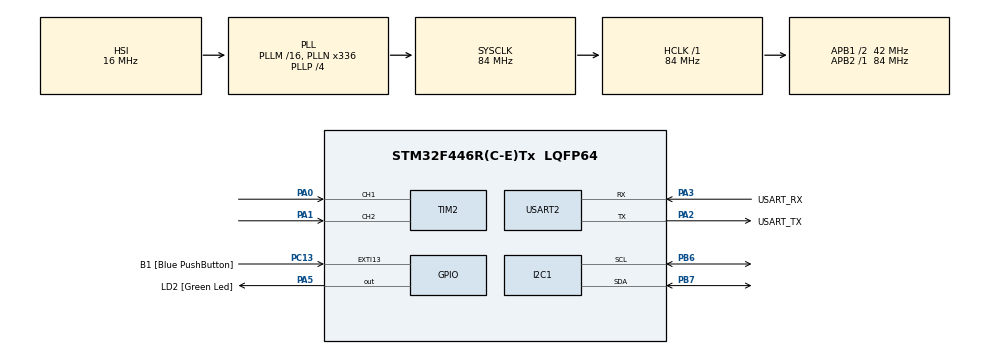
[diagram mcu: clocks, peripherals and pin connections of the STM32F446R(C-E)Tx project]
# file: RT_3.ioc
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FREERTOS.Tasks01=defaultTask,24,128,StartDefaultTask,Default,NULL,Dynamic,NULL,NULL;LCDDisplay_Task,8,128,StartLCDDisplay_Task,Default,NULL,Dynamic,NULL,NULL;EncoderRead_Tas,40,128,StartEncoderRead_Task,Default,NULL,Dynamic,NULL,NULL
FREERTOS.configENABLE_FPU=1
FREERTOS.configUSE_NEWLIB_REENTRANT=1
Mcu.Family=STM32F4
Mcu.Name=STM32F446R(C-E)Tx
Mcu.Package=LQFP64
NVIC.EXTI15_10_IRQn=true\:5\:0\:false\:false\:true\:true\:true\:true\:true
NVIC.PriorityGroup=NVIC_PRIORITYGROUP_4
NVIC.TIM7_IRQn=true\:15\:0\:false\:false\:true\:false\:false\:true\:true
NVIC.TimeBase=TIM7_IRQn
NVIC.TimeBaseIP=TIM7
PA0-WKUP.GPIO_PuPd=GPIO_PULLUP
PA0-WKUP.Signal=S_TIM2_CH1_ETR
PA1.GPIO_PuPd=GPIO_PULLUP
PA1.Signal=S_TIM2_CH2
PA13.GPIO_Label=TMS
PA13.Mode=Serial_Wire
PA13.Signal=SYS_JTMS-SWDIO
PA14.GPIO_Label=TCK
PA14.Mode=Serial_Wire
PA14.Signal=SYS_JTCK-SWCLK
PA2.GPIO_Label=USART_TX
PA2.Mode=Asynchronous
PA2.Signal=USART2_TX
PA3.GPIO_Label=USART_RX
PA3.Mode=Asynchronous
PA3.Signal=USART2_RX
PA5.GPIO_Label=LD2 [Green Led]
PA5.Signal=GPIO_Output
PB3.GPIO_Label=SWO
PB3.Signal=SYS_JTDO-SWO
PB6.GPIO_Pu=GPIO_PULLUP
PB6.Mode=I2C
PB6.Signal=I2C1_SCL
PB7.GPIO_Pu=GPIO_PULLUP
PB7.Mode=I2C
PB7.Signal=I2C1_SDA
PC13.GPIO_Label=B1 [Blue PushButton]
PC13.GPIO_ModeDefaultEXTI=GPIO_MODE_IT_RISING
PC13.Signal=GPXTI13
PC14-OSC32_IN.Mode=LSE-External-Oscillator
PC14-OSC32_IN.Signal=RCC_OSC32_IN
PC15-OSC32_OUT.Mode=LSE-External-Oscillator
PC15-OSC32_OUT.Signal=RCC_OSC32_OUT
PH0-OSC_IN.Mode=HSE-External-Oscillator
PH0-OSC_IN.Signal=RCC_OSC_IN
PH1-OSC_OUT.Mode=HSE-External-Oscillator
PH1-OSC_OUT.Signal=RCC_OSC_OUT
ProjectManager.HeapSize=0x200
ProjectManager.StackSize=0x400
ProjectManager.TargetToolchain=STM32CubeIDE
RCC.48MHZClocksFreq_Value=84000000
RCC.AHBFreq_Value=84000000
RCC.APB1CLKDivider=RCC_HCLK_DIV2
RCC.APB1Freq_Value=42000000
RCC.APB1TimFreq_Value=84000000
RCC.APB2Freq_Value=84000000
RCC.APB2TimFreq_Value=84000000
RCC.CortexFreq_Value=84000000
RCC.FLatency-AdvancedSettings=FLASH_LATENCY_2
RCC.HCLKFreq_Value=84000000
RCC.HSE_VALUE=8000000
RCC.HSI_VALUE=16000000
RCC.PLLN=336
RCC.PLLP=RCC_PLLP_DIV4
RCC.SYSCLKFreq_VALUE=84000000
RCC.SYSCLKSource=RCC_SYSCLKSOURCE_PLLCLK
RCC.USBFreq_Value=168000000
RCC.VCOOutputFreq_Value=336000000
SH.S_TIM2_CH1_ETR.0=TIM2_CH1,Encoder_Interface
SH.S_TIM2_CH2.0=TIM2_CH2,Encoder_Interface
TIM2.EncoderMode=TIM_ENCODERMODE_TI12
USART2.VirtualMode=VM_ASYNC
VP_FREERTOS_VS_CMSIS_V2.Mode=CMSIS_V2
VP_SYS_VS_tim7.Mode=TIM7
board=NUCLEO-F446RE

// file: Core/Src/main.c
/* USER CODE BEGIN Header */
/**
  ******************************************************************************
  * @file           : main.c
  * @brief          : Main program body
  ******************************************************************************
  * @attention
  *
  * Copyright (c) 2025 STMicroelectronics.
  * All rights reserved.
  *
  * This software is licensed under terms that can be found in the LICENSE file
  * in the root directory of this software component.
  * If no LICENSE file comes with this software, it is provided AS-IS.
  *
  ******************************************************************************
  */
/* USER CODE END Header */
#include "main.h"
#include "cmsis_os.h"

I2C_HandleTypeDef hi2c1;

TIM_HandleTypeDef htim2;

UART_HandleTypeDef huart2;

/* Definitions for defaultTask */
osThreadId_t defaultTaskHandle;
const osThreadAttr_t defaultTask_attributes = {
  .name = "defaultTask",
  .stack_size = 128 * 4,
  .priority = (osPriority_t) osPriorityNormal,
};
/* Definitions for LCDDisplay_Task */
osThreadId_t LCDDisplay_TaskHandle;
const osThreadAttr_t LCDDisplay_Task_attributes = {
  .name = "LCDDisplay_Task",
  .stack_size = 128 * 4,
  .priority = (osPriority_t) osPriorityLow,
};
/* Definitions for EncoderRead_Tas */
osThreadId_t EncoderRead_TasHandle;
const osThreadAttr_t EncoderRead_Tas_attributes = {
  .name = "EncoderRead_Tas",
  .stack_size = 128 * 4,
  .priority = (osPriority_t) osPriorityHigh,
};

void SystemClock_Config(void);
static void MX_GPIO_Init(void);
static void MX_USART2_UART_Init(void);
static void MX_I2C1_Init(void);
static void MX_TIM2_Init(void);
void StartDefaultTask(void *argument);
void StartLCDDisplay_Task(void *argument);
void StartEncoderRead_Task(void *argument);

int main(void)
{

  /* MCU Configuration--------------------------------------------------------*/

  /* Reset of all peripherals, Initializes the Flash interface and the Systick. */
  HAL_Init();

  /* Configure the system clock */
  SystemClock_Config();

  /* Initialize all configured peripherals */
  MX_GPIO_Init();
  MX_USART2_UART_Init();
  MX_I2C1_Init();
  MX_TIM2_Init();

  /* Init scheduler */
  osKernelInitialize();

  /* Create the thread(s) */
  /* creation of defaultTask */
  defaultTaskHandle = osThreadNew(StartDefaultTask, NULL, &defaultTask_attributes);

  /* creation of LCDDisplay_Task */
  LCDDisplay_TaskHandle = osThreadNew(StartLCDDisplay_Task, NULL, &LCDDisplay_Task_attributes);

  /* creation of EncoderRead_Tas */
  EncoderRead_TasHandle = osThreadNew(StartEncoderRead_Task, NULL, &EncoderRead_Tas_attributes);

  /* Start scheduler */
  osKernelStart();

  /* We should never get here as control is now taken by the scheduler */

  /* Infinite loop */
  while (1)
  {

  }
}

void SystemClock_Config(void)
{
  RCC_OscInitTypeDef RCC_OscInitStruct = {0};
  RCC_ClkInitTypeDef RCC_ClkInitStruct = {0};

  /** Configure the main internal regulator output voltage
  */
  __HAL_RCC_PWR_CLK_ENABLE();
  __HAL_PWR_VOLTAGESCALING_CONFIG(PWR_REGULATOR_VOLTAGE_SCALE3);

  /** Initializes the RCC Oscillators according to the specified parameters
  * in the RCC_OscInitTypeDef structure.
  */
  RCC_OscInitStruct.OscillatorType = RCC_OSCILLATORTYPE_HSI;
  RCC_OscInitStruct.HSIState = RCC_HSI_ON;
  RCC_OscInitStruct.HSICalibrationValue = RCC_HSICALIBRATION_DEFAULT;
  RCC_OscInitStruct.PLL.PLLState = RCC_PLL_ON;
  RCC_OscInitStruct.PLL.PLLSource = RCC_PLLSOURCE_HSI;
  RCC_OscInitStruct.PLL.PLLM = 16;
  RCC_OscInitStruct.PLL.PLLN = 336;
  RCC_OscInitStruct.PLL.PLLP = RCC_PLLP_DIV4;
  RCC_OscInitStruct.PLL.PLLQ = 2;
  RCC_OscInitStruct.PLL.PLLR = 2;
  if (HAL_RCC_OscConfig(&RCC_OscInitStruct) != HAL_OK)
  {
    Error_Handler();
  }

  /** Initializes the CPU, AHB and APB buses clocks
  */
  RCC_ClkInitStruct.ClockType = RCC_CLOCKTYPE_HCLK|RCC_CLOCKTYPE_SYSCLK
                              |RCC_CLOCKTYPE_PCLK1|RCC_CLOCKTYPE_PCLK2;
  RCC_ClkInitStruct.SYSCLKSource = RCC_SYSCLKSOURCE_PLLCLK;
  RCC_ClkInitStruct.AHBCLKDivider = RCC_SYSCLK_DIV1;
  RCC_ClkInitStruct.APB1CLKDivider = RCC_HCLK_DIV2;
  RCC_ClkInitStruct.APB2CLKDivider = RCC_HCLK_DIV1;

  if (HAL_RCC_ClockConfig(&RCC_ClkInitStruct, FLASH_LATENCY_2) != HAL_OK)
  {
    Error_Handler();
  }
}

static void MX_I2C1_Init(void)
{

  hi2c1.Instance = I2C1;
  hi2c1.Init.ClockSpeed = 100000;
  hi2c1.Init.DutyCycle = I2C_DUTYCYCLE_2;
  hi2c1.Init.OwnAddress1 = 0;
  hi2c1.Init.AddressingMode = I2C_ADDRESSINGMODE_7BIT;
  hi2c1.Init.DualAddressMode = I2C_DUALADDRESS_DISABLE;
  hi2c1.Init.OwnAddress2 = 0;
  hi2c1.Init.GeneralCallMode = I2C_GENERALCALL_DISABLE;
  hi2c1.Init.NoStretchMode = I2C_NOSTRETCH_DISABLE;
  if (HAL_I2C_Init(&hi2c1) != HAL_OK)
  {
    Error_Handler();
  }

}

static void MX_TIM2_Init(void)
{

  TIM_Encoder_InitTypeDef sConfig = {0};
  TIM_MasterConfigTypeDef sMasterConfig = {0};

  htim2.Instance = TIM2;
  htim2.Init.Prescaler = 0;
  htim2.Init.CounterMode = TIM_COUNTERMODE_UP;
  htim2.Init.Period = 4294967295;
  htim2.Init.ClockDivision = TIM_CLOCKDIVISION_DIV1;
  htim2.Init.AutoReloadPreload = TIM_AUTORELOAD_PRELOAD_DISABLE;
  sConfig.EncoderMode = TIM_ENCODERMODE_TI12;
  sConfig.IC1Polarity = TIM_ICPOLARITY_RISING;
  sConfig.IC1Selection = TIM_ICSELECTION_DIRECTTI;
  sConfig.IC1Prescaler = TIM_ICPSC_DIV1;
  sConfig.IC1Filter = 0;
  sConfig.IC2Polarity = TIM_ICPOLARITY_RISING;
  sConfig.IC2Selection = TIM_ICSELECTION_DIRECTTI;
  sConfig.IC2Prescaler = TIM_ICPSC_DIV1;
  sConfig.IC2Filter = 0;
  if (HAL_TIM_Encoder_Init(&htim2, &sConfig) != HAL_OK)
  {
    Error_Handler();
  }
  sMasterConfig.MasterOutputTrigger = TIM_TRGO_RESET;
  sMasterConfig.MasterSlaveMode = TIM_MASTERSLAVEMODE_DISABLE;
  if (HAL_TIMEx_MasterConfigSynchronization(&htim2, &sMasterConfig) != HAL_OK)
  {
    Error_Handler();
  }

}

static void MX_USART2_UART_Init(void)
{

  huart2.Instance = USART2;
  huart2.Init.BaudRate = 115200;
  huart2.Init.WordLength = UART_WORDLENGTH_8B;
  huart2.Init.StopBits = UART_STOPBITS_1;
  huart2.Init.Parity = UART_PARITY_NONE;
  huart2.Init.Mode = UART_MODE_TX_RX;
  huart2.Init.HwFlowCtl = UART_HWCONTROL_NONE;
  huart2.Init.OverSampling = UART_OVERSAMPLING_16;
  if (HAL_UART_Init(&huart2) != HAL_OK)
  {
    Error_Handler();
  }

}

static void MX_GPIO_Init(void)
{
  GPIO_InitTypeDef GPIO_InitStruct = {0};

  /* GPIO Ports Clock Enable */
  __HAL_RCC_GPIOC_CLK_ENABLE();
  __HAL_RCC_GPIOH_CLK_ENABLE();
  __HAL_RCC_GPIOA_CLK_ENABLE();
  __HAL_RCC_GPIOB_CLK_ENABLE();

  /*Configure GPIO pin Output Level */
  HAL_GPIO_WritePin(LD2_GPIO_Port, LD2_Pin, GPIO_PIN_RESET);

  /*Configure GPIO pin : B1_Pin */
  GPIO_InitStruct.Pin = B1_Pin;
  GPIO_InitStruct.Mode = GPIO_MODE_IT_RISING;
  GPIO_InitStruct.Pull = GPIO_NOPULL;
  HAL_GPIO_Init(B1_GPIO_Port, &GPIO_InitStruct);

  /*Configure GPIO pin : LD2_Pin */
  GPIO_InitStruct.Pin = LD2_Pin;
  GPIO_InitStruct.Mode = GPIO_MODE_OUTPUT_PP;
  GPIO_InitStruct.Pull = GPIO_NOPULL;
  GPIO_InitStruct.Speed = GPIO_SPEED_FREQ_LOW;
  HAL_GPIO_Init(LD2_GPIO_Port, &GPIO_InitStruct);

  /* EXTI interrupt init*/
  HAL_NVIC_SetPriority(EXTI15_10_IRQn, 5, 0);
  HAL_NVIC_EnableIRQ(EXTI15_10_IRQn);

}

/* USER CODE BEGIN 4 */
void HAL_GPIO_EXTI_Callback ( uint16_t GPIO_Pin ){
	if(GPIO_Pin == B1_Pin){
		//osSemaphoreRelease(semButtonEchoHandle);
		HAL_GPIO_TogglePin ( LD2_GPIO_Port , LD2_Pin );
		__HAL_TIM_SET_COUNTER(&htim2, 0);
	}
}

/* USER CODE END 4 */

void StartDefaultTask(void *argument)
{
  /* USER CODE BEGIN 5 */
  /* Infinite loop */
  for(;;)
  {
	  osDelay(5);
  }
  /* USER CODE END 5 */
}

void StartLCDDisplay_Task(void *argument)
{
  /* USER CODE BEGIN StartLCDDisplay_Task */

	lcd_init(hi2c1);
	lcd_put_cursor(0,0);
	lcd_clear();
  /* Infinite loop */
  for(;;)
  {
	  lcd_write("1");
	  osDelay(1000);
  }
  /* USER CODE END StartLCDDisplay_Task */
}

void StartEncoderRead_Task(void *argument)
{
  /* USER CODE BEGIN StartEncoderRead_Task */
	lcd_init(hi2c1);
	lcd_put_cursor(0,0);
	lcd_clear();

	HAL_TIM_Encoder_Start(&htim2, 1);
	int cpt_val;
	char buf[16];

	/* Infinite loop */
	for(;;){
		cpt_val = __HAL_TIM_GET_COUNTER(&htim2);
		lcd_clear();
		sprintf(buf, "%d", cpt_val);
		lcd_write(buf);
		HAL_Delay(1000);

	}
  /* USER CODE END StartEncoderRead_Task */
}

void HAL_TIM_PeriodElapsedCallback(TIM_HandleTypeDef *htim)
{
  if (htim->Instance == TIM7)
  {
    HAL_IncTick();
  }
}

void Error_Handler(void)
{
  __disable_irq();
  while (1)
  {
  }
}
